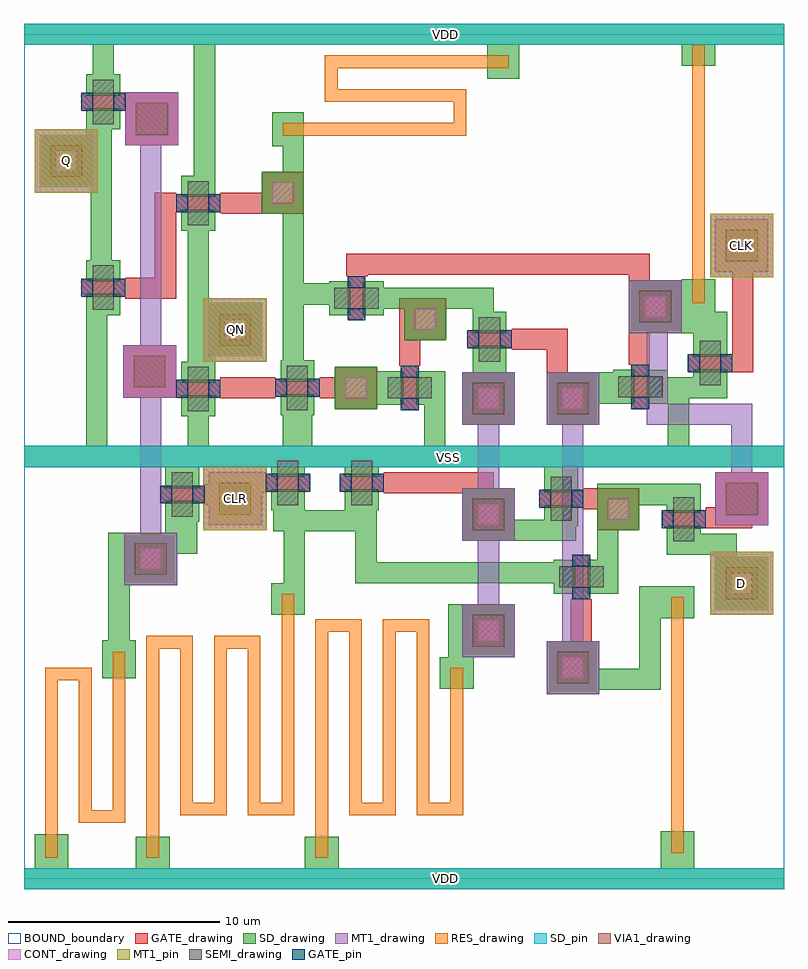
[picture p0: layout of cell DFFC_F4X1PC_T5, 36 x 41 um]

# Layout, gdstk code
from math import pi, radians
import gdstk
lib = gdstk.Library(unit=1e-6, precision=1e-09)
def R(c, l, rs):  # rectangles x0, y0, x1, y1
    for r in rs: c.add(gdstk.rectangle(r[:2], r[2:], *l))
def A(c, l, x, y, w, h, nx, ny, dx, dy):  # array of equal rectangles
    R(c, l, [(x+i*dx, y+j*dy, x+i*dx+w, y+j*dy+h) for i in range(nx) for j in range(ny)])
def P(c, l, *ps):  # polygons
    for p in ps: c.add(gdstk.Polygon(p, *l))
RES_drawing = (1, 0)
SEMI_drawing = (3, 0)
SD_drawing = (10, 0)
SD_pin = (10, 3)
GATE_drawing = (11, 0)
GATE_pin = (11, 3)
MT1_drawing = (20, 0)
MT1_pin = (20, 3)
CONT_drawing = (30, 0)
VIA1_drawing = (41, 0)
BOUND_boundary = (150, 5)

res_cdns_772544865370 = lib.new_cell('res_CDNS_772544865370')
A(res_cdns_772544865370, RES_drawing, -3.5, -4.25, 0.6, 8.5, 5, 1, 1.6, 0)
R(res_cdns_772544865370, RES_drawing, [(2.9,-6.25,3.5,-4.25), (-2.9,-4.25,-1.9,-3.65), (0.3,-4.25,1.3,-3.65), (-1.3,3.65,-0.3,4.25), (1.9,3.65,2.9,4.25), (-3.5,4.25,-2.9,6.25)])
R(res_cdns_772544865370, SD_drawing, [(2.4,-6.75,4,-5.25), (-4,5.25,-2.4,6.75)])

nch_cdns_772544865371 = lib.new_cell('nch_CDNS_772544865371')
R(nch_cdns_772544865371, SEMI_drawing, [(-1.05,-0.5,1.05,0.5)])
R(nch_cdns_772544865371, SD_drawing, [(-1.3,-0.8,-0.3,0.8), (0.3,-0.8,1.3,0.8)])
R(nch_cdns_772544865371, GATE_drawing, [(-0.425,-1.05,0.425,1.05)])
R(nch_cdns_772544865371, GATE_pin, [(-0.425,-1.05,0.425,-0.5), (-0.425,0.5,0.425,1.05)])

res_cdns_772544865372 = lib.new_cell('res_CDNS_772544865372')
A(res_cdns_772544865372, RES_drawing, -1.9, -3.35, 0.6, 6.7, 3, 1, 1.6, 0)
R(res_cdns_772544865372, RES_drawing, [(1.3,-5.35,1.9,-3.35), (-1.3,-3.35,-0.3,-2.75), (0.3,2.75,1.3,3.35), (-1.9,3.35,-1.3,5.35)])
R(res_cdns_772544865372, SD_drawing, [(0.8,-5.85,2.4,-4.35), (-2.4,4.35,-0.8,5.85)])

sd_gate_cdns_77254486537 = lib.new_cell('SD_GATE_CDNS_772544865370')
R(sd_gate_cdns_77254486537, SD_drawing, [(-1.25,-1.25,1.25,1.25)])
R(sd_gate_cdns_77254486537, GATE_drawing, [(-1.25,-1.25,1.25,1.25)])
R(sd_gate_cdns_77254486537, CONT_drawing, [(-0.5,-0.5,0.5,0.5)])

gate_mt1_cdns_7725448653 = lib.new_cell('GATE_MT1_CDNS_772544865371')
R(gate_mt1_cdns_7725448653, GATE_drawing, [(-1.25,-1.25,1.25,1.25)])
R(gate_mt1_cdns_7725448653, MT1_drawing, [(-1.5,-1.5,1.5,1.5)])
R(gate_mt1_cdns_7725448653, VIA1_drawing, [(-0.75,-0.75,0.75,0.75)])

c_gate_mt1_cdns_7725448653 = lib.new_cell('GATE_MT1_CDNS_772544865372')
R(c_gate_mt1_cdns_7725448653, GATE_drawing, [(-1.25,-1.25,1.25,1.25)])
R(c_gate_mt1_cdns_7725448653, MT1_drawing, [(-1.25,-1.25,1.25,1.25)])
R(c_gate_mt1_cdns_7725448653, VIA1_drawing, [(-0.75,-0.75,0.75,0.75)])

c_sd_gate_cdns_77254486537 = lib.new_cell('SD_GATE_CDNS_772544865373')
R(c_sd_gate_cdns_77254486537, SD_drawing, [(-1,-1,1,1)])
R(c_sd_gate_cdns_77254486537, GATE_drawing, [(-1,-1,1,1)])
R(c_sd_gate_cdns_77254486537, CONT_drawing, [(-0.5,-0.5,0.5,0.5)])

dffc_f4x1pc_t5 = lib.new_cell('DFFC_F4X1PC_T5')
A(dffc_f4x1pc_t5, SD_drawing, 0, -0.5, 36, 1, 1, 3, 0, 20)
R(dffc_f4x1pc_t5, SD_drawing, [(0.5,0.5,2.1,2.1), (13.3,0.5,14.9,2), (30.15,0.5,31.75,2.25), (24.75,8.75,27.25,11.25), (19.7,9,21.3,10.5), (3.7,9.5,5.3,11.3), (30.15,12.35,31.75,13.85), (27.15,13.5,28.15,17.3), (6.7,16,8.2,16.9), (23.05,16,26.15,17), (11.8,16.5,13.2,17.45), (27.15,17.7,32.05,18.7), (24.65,18.6,26.25,19.5), (2.95,20.5,3.95,26.7), (7.75,20.5,8.75,21.9), (12.25,20.5,13.65,21.95), (21.25,23.9,22.85,24.35), (31.7,25.725,33.3,25.975), (28.65,25.85,31.15,28.35), (31.15,26.65,32.75,28.4), (8.05,33.3,9.05,39.5), (3.25,38.1,4.25,39.5), (31.15,38.5,32.75,40.1)])
P(dffc_f4x1pc_t5, SD_drawing, [(4.15,35.5),(2.95,35.5),(2.95,35.25),(3.15,35.25),(3.15,29.3),(4.15,29.3)],
  [(9.05,24.75),(8.75,24.75),(8.75,30.7),(7.75,30.7),(7.75,24.5),(9.05,24.5)])
A(dffc_f4x1pc_t5, SD_pin, 0, -0.5, 36, 1, 1, 3, 0, 20)
R(dffc_f4x1pc_t5, GATE_drawing, [(8.55,17.7,8.75,18.7), (11.25,18.25,11.45,19.25)])
P(dffc_f4x1pc_t5, GATE_drawing, [(22.25,19.25),(17.15,19.25),(17.15,18.25),(21.25,18.25),(21.25,17.25),(22.25,17.25)],
  [(4.8,27.475),(7.2,27.475),(7.2,32.5),(6.2,32.5),(6.2,28.475),(4.8,28.475)],
  [(11.8,22.75),(11.8,23.75),(11.9,23.75),(11.9,23.625),(11.95,23.625),(11.95,22.875),(11.9,22.875),(11.9,22.75)],
  [(9.4,22.75),(9.4,23.75),(9.3,23.75),(9.3,23.575),(9.25,23.575),(9.25,22.825),(9.3,22.825),(9.3,22.75)],
  [(26.6,17.5),(26.6,18.5),(26.5,18.5),(26.5,18.375),(26.45,18.375),(26.45,17.625),(26.5,17.625),(26.5,17.5)],
  [(16.275,28.65),(15.275,28.65),(15.275,28.55),(15.375,28.55),(15.375,28.5),(16.125,28.5),(16.125,28.55),(16.275,28.55)],
  [(32.4,16.6),(32.4,17.6),(32.3,17.6),(32.3,17.35),(32.25,17.35),(32.25,16.6)],
  [(18.775,24.4),(17.775,24.4),(17.775,24.3),(17.9,24.3),(17.9,24.25),(18.65,24.25),(18.65,24.3),(18.775,24.3)],
  [(14.1,22.75),(14.1,23.75),(14,23.75),(14,23.625),(13.95,23.625),(13.95,22.875),(14,22.875),(14,22.75)],
  [(25.9,13.15),(26.9,13.15),(26.9,13.25),(26.775,13.25),(26.775,13.3),(26.025,13.3),(26.025,13.25),(25.9,13.25)],
  [(4.9,27.475),(4.9,28.475),(4.8,28.475),(4.8,28.375),(4.75,28.375),(4.75,27.625),(4.8,27.625),(4.8,27.475)],
  [(7.1,23.725),(7.1,22.775),(7.2,22.775),(7.2,22.825),(7.25,22.825),(7.25,23.575),(7.2,23.575),(7.2,23.725)],
  [(4.9,36.275),(4.9,37.25),(4.8,37.25),(4.8,37.175),(4.75,37.175),(4.75,36.425),(4.8,36.425),(4.8,36.275)],
  [(17.15,18.25),(17.15,19.25),(17.05,19.25),(17.05,19.125),(17,19.125),(17,18.375),(17.05,18.375),(17.05,18.25)],
  [(11.35,18.25),(11.35,19.25),(11.45,19.25),(11.45,19.125),(11.5,19.125),(11.5,18.375),(11.45,18.375),(11.45,18.25)],
  [(33.65,24),(33.65,24.975),(33.55,24.975),(33.55,24.8),(33.5,24.8),(33.5,24.075),(33.55,24.075),(33.55,24)],
  [(29.65,24.45),(28.65,24.45),(28.65,24.35),(28.825,24.35),(28.825,24.3),(29.575,24.3),(29.575,24.35),(29.65,24.35)],
  [(7.1,32.5),(7.1,31.525),(7.2,31.525),(7.2,31.625),(7.25,31.625),(7.25,32.375),(7.2,32.375),(7.2,32.5)],
  [(8.65,17.7),(8.65,18.7),(8.55,18.7),(8.55,18.575),(8.5,18.575),(8.5,17.825),(8.55,17.825),(8.55,17.7)],
  [(9.4,32.5),(9.4,31.525),(9.3,31.525),(9.3,31.625),(9.25,31.625),(9.25,32.375),(9.3,32.375),(9.3,32.5)],
  [(23.2,25.05),(23.2,26.05),(23.1,26.05),(23.1,25.925),(23.05,25.925),(23.05,25.175),(23.1,25.175),(23.1,25.05)])
R(dffc_f4x1pc_t5, MT1_drawing, [(32.5,12.5,35.5,15.5), (8.5,16.5,11.5,19.5), (8.5,24.5,11.5,27.5), (32.5,28.5,35.5,31.5), (0.5,32.5,3.5,35.5)])
R(dffc_f4x1pc_t5, MT1_pin, [(32.5,12.5,35.5,15.5), (8.5,16.5,11.5,19.5), (8.5,24.5,11.5,27.5), (32.5,28.5,35.5,31.5), (0.5,32.5,3.5,35.5)])
R(dffc_f4x1pc_t5, BOUND_boundary, [(0,0,36,40)])
dffc_f4x1pc_t5.add(gdstk.FlexPath([(11.5,32),(12.75,32)], 1, ends=(0, 0.5), simple_path=True, layer=10, datatype=0))  # SD_drawing
dffc_f4x1pc_t5.add(gdstk.FlexPath([(29.65,13.85),(29.65,9.45)], 1, ends=(0, 0.5), simple_path=True, layer=10, datatype=0))  # SD_drawing
dffc_f4x1pc_t5.add(gdstk.FlexPath([(27.9,23.3),(26,23.3)], 1.4, ends=(0, 0.7), simple_path=True, layer=10, datatype=0))  # SD_drawing
dffc_f4x1pc_t5.add(gdstk.FlexPath([(26,9.45),(26,10)], 1, ends=(0.5, 0), simple_path=True, layer=10, datatype=0))  # SD_drawing
dffc_f4x1pc_t5.add(gdstk.FlexPath([(12.75,33.5),(12.75,35.2)], 1, ends=(0, 0.5), simple_path=True, layer=10, datatype=0))  # SD_drawing
dffc_f4x1pc_t5.add(gdstk.FlexPath([(33.3,23.25),(31,23.25)], 1, ends=(0, 0.5), simple_path=True, layer=10, datatype=0))  # SD_drawing
dffc_f4x1pc_t5.add(gdstk.FlexPath([(30.8,26.35),(33.3,26.35)], 1, ends="flush", simple_path=True, layer=10, datatype=0))  # SD_drawing
dffc_f4x1pc_t5.add(gdstk.FlexPath([(5.3,10.8),(4.5,10.8)], 1, ends=(0, 0.5), simple_path=True, layer=10, datatype=0))  # SD_drawing
dffc_f4x1pc_t5.add(gdstk.FlexPath([(27.9,23.2),(26,23.2)], 1.4, ends=(0, 0.7), simple_path=True, layer=10, datatype=0))  # SD_drawing
dffc_f4x1pc_t5.add(gdstk.FlexPath([(31,23.75),(31,20.5)], 1, ends="flush", simple_path=True, layer=10, datatype=0))  # SD_drawing
dffc_f4x1pc_t5.add(gdstk.FlexPath([(30.45,15.85),(33.25,15.85)], 1, ends=(0, 0.5), simple_path=True, layer=10, datatype=0))  # SD_drawing
dffc_f4x1pc_t5.add(gdstk.FlexPath([(33.25,15.85),(33.25,13.6)], 1, ends=(0.5, 0), simple_path=True, layer=10, datatype=0))  # SD_drawing
dffc_f4x1pc_t5.add(gdstk.FlexPath([(12.8,16.95),(16.7,16.95)], 1, ends=(0.5, 0), simple_path=True, layer=10, datatype=0))  # SD_drawing
dffc_f4x1pc_t5.add(gdstk.FlexPath([(15.7,23.25),(15.7,23.3)], 1.6, ends=(0.8, 0), simple_path=True, layer=10, datatype=0))  # SD_drawing
dffc_f4x1pc_t5.add(gdstk.FlexPath([(20.6,13),(20.6,10.5)], 1, ends="flush", simple_path=True, layer=10, datatype=0))  # SD_drawing
dffc_f4x1pc_t5.add(gdstk.FlexPath([(12.8,13.5),(13.15,13.5)], 1, ends=(0.5, 0), simple_path=True, layer=10, datatype=0))  # SD_drawing
dffc_f4x1pc_t5.add(gdstk.FlexPath([(16.2,14.5),(25.1,14.5)], 1, ends=(0.5, 0), simple_path=True, layer=10, datatype=0))  # SD_drawing
dffc_f4x1pc_t5.add(gdstk.FlexPath([(12.75,27.7),(12.75,24.55)], 1, ends=(0.5, 0), simple_path=True, layer=10, datatype=0))  # SD_drawing
dffc_f4x1pc_t5.add(gdstk.FlexPath([(12.8,16.95),(12.8,13.5)], 1, ends="extended", simple_path=True, layer=10, datatype=0))  # SD_drawing
dffc_f4x1pc_t5.add(gdstk.FlexPath([(26,23.3),(26,23.5)], 1.4, ends=(0.7, 0.5), simple_path=True, layer=10, datatype=0))  # SD_drawing
dffc_f4x1pc_t5.add(gdstk.FlexPath([(16.975,23.25),(15.7,23.25)], 1.6, ends=(0, 0.8), simple_path=True, layer=10, datatype=0))  # SD_drawing
dffc_f4x1pc_t5.add(gdstk.FlexPath([(16.2,16.95),(16.2,14.5)], 1, ends=(0, 0.5), simple_path=True, layer=10, datatype=0))  # SD_drawing
dffc_f4x1pc_t5.add(gdstk.FlexPath([(12.75,32),(12.75,27.7)], 1, ends="extended", simple_path=True, layer=10, datatype=0))  # SD_drawing
dffc_f4x1pc_t5.add(gdstk.FlexPath([(4.5,15.9),(7.7,15.9)], 1, ends="extended", simple_path=True, layer=10, datatype=0))  # SD_drawing
dffc_f4x1pc_t5.add(gdstk.FlexPath([(7.7,15.9),(7.7,16)], 1, ends=(0.5, 0), simple_path=True, layer=10, datatype=0))  # SD_drawing
dffc_f4x1pc_t5.add(gdstk.FlexPath([(12.75,27.7),(14.45,27.7)], 1, ends=(0.5, 0), simple_path=True, layer=10, datatype=0))  # SD_drawing
dffc_f4x1pc_t5.add(gdstk.FlexPath([(26,23.5),(28.85,23.5)], 1, ends=(0.7, 0), simple_path=True, layer=10, datatype=0))  # SD_drawing
dffc_f4x1pc_t5.add(gdstk.FlexPath([(21.75,26.65),(21.75,27.5),(17.05,27.5)], 1, ends="flush", simple_path=True, layer=10, datatype=0))  # SD_drawing
dffc_f4x1pc_t5.add(gdstk.FlexPath([(4.5,10.8),(4.5,15.9)], 1, ends="extended", simple_path=True, layer=10, datatype=0))  # SD_drawing
dffc_f4x1pc_t5.add(gdstk.FlexPath([(29.65,9.45),(26,9.45)], 1, ends="extended", simple_path=True, layer=10, datatype=0))  # SD_drawing
dffc_f4x1pc_t5.add(gdstk.FlexPath([(19.45,24.05),(19.45,20.5)], 1, ends="flush", simple_path=True, layer=10, datatype=0))  # SD_drawing
dffc_f4x1pc_t5.add(gdstk.FlexPath([(11.8,16.95),(12.8,16.95)], 1, ends=(0, 0.5), simple_path=True, layer=10, datatype=0))  # SD_drawing
dffc_f4x1pc_t5.add(gdstk.FlexPath([(17.3,3.3),(17.3,12)], 0.6, ends="extended", simple_path=True, layer=1, datatype=0))  # RES_drawing
dffc_f4x1pc_t5.add(gdstk.FlexPath([(31.95,38.5),(31.95,27.25)], 0.6, ends=(1, 0), simple_path=True, layer=1, datatype=0))  # RES_drawing
dffc_f4x1pc_t5.add(gdstk.FlexPath([(30.95,12.35),(30.95,1.2)], 0.6, ends=(1, 0), simple_path=True, layer=1, datatype=0))  # RES_drawing
dffc_f4x1pc_t5.add(gdstk.FlexPath([(15.7,3.3),(17.3,3.3)], 0.6, ends="extended", simple_path=True, layer=1, datatype=0))  # RES_drawing
dffc_f4x1pc_t5.add(gdstk.FlexPath([(15.7,12),(15.7,3.3)], 0.6, ends="extended", simple_path=True, layer=1, datatype=0))  # RES_drawing
dffc_f4x1pc_t5.add(gdstk.FlexPath([(14.1,1),(14.1,12)], 0.6, ends=(0, 0.3), simple_path=True, layer=1, datatype=0))  # RES_drawing
dffc_f4x1pc_t5.add(gdstk.FlexPath([(14.1,12),(15.7,12)], 0.6, ends="extended", simple_path=True, layer=1, datatype=0))  # RES_drawing
dffc_f4x1pc_t5.add(gdstk.FlexPath([(18.9,12),(18.9,3.3)], 0.6, ends="extended", simple_path=True, layer=1, datatype=0))  # RES_drawing
dffc_f4x1pc_t5.add(gdstk.FlexPath([(20.5,3.3),(20.5,10)], 0.6, ends=(0.3, 0), simple_path=True, layer=1, datatype=0))  # RES_drawing
dffc_f4x1pc_t5.add(gdstk.FlexPath([(18.9,3.3),(20.5,3.3)], 0.6, ends="extended", simple_path=True, layer=1, datatype=0))  # RES_drawing
dffc_f4x1pc_t5.add(gdstk.FlexPath([(17.3,12),(18.9,12)], 0.6, ends="extended", simple_path=True, layer=1, datatype=0))  # RES_drawing
dffc_f4x1pc_t5.add(gdstk.FlexPath([(1.3,1),(1.3,9.7),(2.9,9.7),(2.9,2.95),(4.5,2.95),(4.5,10.75)], 0.6, ends="flush", simple_path=True, layer=1, datatype=0))  # RES_drawing
dffc_f4x1pc_t5.add(gdstk.FlexPath([(15.6,23.25),(14.1,23.25)], 1, ends="flush", simple_path=True, layer=11, datatype=0))  # GATE_drawing
dffc_f4x1pc_t5.add(gdstk.FlexPath([(18.275,24.4),(18.275,27.5)], 1, ends="flush", simple_path=True, layer=11, datatype=0))  # GATE_drawing
dffc_f4x1pc_t5.add(gdstk.FlexPath([(23.2,25.55),(25.25,25.55)], 1, ends=(0, 0.5), simple_path=True, layer=11, datatype=0))  # GATE_drawing
dffc_f4x1pc_t5.add(gdstk.FlexPath([(25.25,22.35),(26.1,22.35)], 1, ends=(0.5, 0), simple_path=True, layer=11, datatype=0))  # GATE_drawing
dffc_f4x1pc_t5.add(gdstk.FlexPath([(25.25,25.55),(25.25,22.35)], 1, ends="extended", simple_path=True, layer=11, datatype=0))  # GATE_drawing
dffc_f4x1pc_t5.add(gdstk.FlexPath([(15.8,29.1),(29.15,29.1),(29.15,24.45)], 1, ends="flush", simple_path=True, layer=11, datatype=0))  # GATE_drawing
dffc_f4x1pc_t5.add(gdstk.FlexPath([(15.775,29.1),(15.825,29.1)], 1, ends=(0.5, 0), simple_path=True, layer=11, datatype=0))  # GATE_drawing
dffc_f4x1pc_t5.add(gdstk.FlexPath([(32.4,17.1),(34,17.1)], 1, ends=(0, 0.5), simple_path=True, layer=11, datatype=0))  # GATE_drawing
dffc_f4x1pc_t5.add(gdstk.FlexPath([(34,17.1),(34,18)], 1, ends=(0.5, 0), simple_path=True, layer=11, datatype=0))  # GATE_drawing
dffc_f4x1pc_t5.add(gdstk.FlexPath([(9.4,32),(11.75,32)], 1, ends="flush", simple_path=True, layer=11, datatype=0))  # GATE_drawing
dffc_f4x1pc_t5.add(gdstk.FlexPath([(26.4,13.15),(26.4,10.75)], 1, ends=(0, 0.5), simple_path=True, layer=11, datatype=0))  # GATE_drawing
dffc_f4x1pc_t5.add(gdstk.FlexPath([(34.05,24.5),(34.05,30)], 1, ends=(0.5, 0), simple_path=True, layer=11, datatype=0))  # GATE_drawing
dffc_f4x1pc_t5.add(gdstk.FlexPath([(26.6,18),(27.15,18)], 1, ends="flush", simple_path=True, layer=11, datatype=0))  # GATE_drawing
dffc_f4x1pc_t5.add(gdstk.FlexPath([(9.4,23.25),(11.8,23.25)], 1, ends="flush", simple_path=True, layer=11, datatype=0))  # GATE_drawing
dffc_f4x1pc_t5.add(gdstk.FlexPath([(15.775,28.575),(15.775,29.1)], 1, ends=(0, 0.5), simple_path=True, layer=11, datatype=0))  # GATE_drawing
dffc_f4x1pc_t5.add(gdstk.FlexPath([(34,22),(34,17.75)], 1, ends=(0.5, 0), simple_path=True, layer=20, datatype=0))  # MT1_drawing
dffc_f4x1pc_t5.add(gdstk.FlexPath([(26,23.15),(26,9.9)], 1, ends="flush", simple_path=True, layer=20, datatype=0))  # MT1_drawing
dffc_f4x1pc_t5.add(gdstk.FlexPath([(22,11.75),(22,11)], 1, ends="flush", simple_path=True, layer=20, datatype=0))  # MT1_drawing
dffc_f4x1pc_t5.add(gdstk.FlexPath([(22,17.25),(22,11.75)], 1, ends="flush", simple_path=True, layer=20, datatype=0))  # MT1_drawing
dffc_f4x1pc_t5.add(gdstk.FlexPath([(22,22.75),(22,17.25)], 1, ends="flush", simple_path=True, layer=20, datatype=0))  # MT1_drawing
dffc_f4x1pc_t5.add(gdstk.FlexPath([(6,36),(6,15.15)], 1, ends="flush", simple_path=True, layer=20, datatype=0))  # MT1_drawing
dffc_f4x1pc_t5.add(gdstk.FlexPath([(30,22),(34,22)], 1, ends="extended", simple_path=True, layer=20, datatype=0))  # MT1_drawing
dffc_f4x1pc_t5.add(gdstk.FlexPath([(29.85,27.05),(30,27.05)], 1, ends=(0, 0.5), simple_path=True, layer=20, datatype=0))  # MT1_drawing
dffc_f4x1pc_t5.add(gdstk.FlexPath([(30,27.05),(30,22)], 1, ends="extended", simple_path=True, layer=20, datatype=0))  # MT1_drawing
dffc_f4x1pc_t5.add(gdstk.Reference(res_cdns_772544865370, (9.3,7.25), x_reflection=True))
dffc_f4x1pc_t5.add(gdstk.Reference(nch_cdns_772544865371, (12.95,23.25), rotation=pi/2))
dffc_f4x1pc_t5.add(gdstk.Reference(nch_cdns_772544865371, (26.4,14.3), rotation=pi))
dffc_f4x1pc_t5.add(gdstk.Reference(nch_cdns_772544865371, (29.2,23.3), rotation=pi))
dffc_f4x1pc_t5.add(gdstk.Reference(nch_cdns_772544865371, (32.5,24.425), rotation=pi/2))
dffc_f4x1pc_t5.add(gdstk.Reference(nch_cdns_772544865371, (3.75,28), rotation=pi/2))
dffc_f4x1pc_t5.add(gdstk.Reference(nch_cdns_772544865371, (25.45,18), rotation=3*pi/2))
dffc_f4x1pc_t5.add(gdstk.Reference(nch_cdns_772544865371, (16,18.75), rotation=3*pi/2))
dffc_f4x1pc_t5.add(gdstk.Reference(nch_cdns_772544865371, (8.25,32), rotation=pi/2))
dffc_f4x1pc_t5.add(gdstk.Reference(nch_cdns_772544865371, (7.5,18.2), rotation=3*pi/2))
dffc_f4x1pc_t5.add(gdstk.Reference(nch_cdns_772544865371, (3.75,36.8), rotation=pi/2))
dffc_f4x1pc_t5.add(gdstk.Reference(nch_cdns_772544865371, (31.25,17.025), rotation=pi/2))
dffc_f4x1pc_t5.add(gdstk.Reference(nch_cdns_772544865371, (12.5,18.75), rotation=3*pi/2, x_reflection=True))
dffc_f4x1pc_t5.add(gdstk.Reference(nch_cdns_772544865371, (22.05,25.55), rotation=3*pi/2, x_reflection=True))
dffc_f4x1pc_t5.add(gdstk.Reference(nch_cdns_772544865371, (8.25,23.2), rotation=pi/2))
dffc_f4x1pc_t5.add(gdstk.Reference(nch_cdns_772544865371, (15.75,27.5)))
dffc_f4x1pc_t5.add(gdstk.Reference(nch_cdns_772544865371, (18.275,23.25), rotation=pi))
dffc_f4x1pc_t5.add(gdstk.Reference(res_cdns_772544865372, (17.6,37.1), rotation=pi/2))
dffc_f4x1pc_t5.add(gdstk.Reference(sd_gate_cdns_77254486537, (26,22.75)))
dffc_f4x1pc_t5.add(gdstk.Reference(sd_gate_cdns_77254486537, (22,22.75)))
dffc_f4x1pc_t5.add(gdstk.Reference(sd_gate_cdns_77254486537, (2,34)))
dffc_f4x1pc_t5.add(gdstk.Reference(sd_gate_cdns_77254486537, (10,26)))
dffc_f4x1pc_t5.add(gdstk.Reference(sd_gate_cdns_77254486537, (22,11.75)))
dffc_f4x1pc_t5.add(gdstk.Reference(sd_gate_cdns_77254486537, (22,17.25)))
dffc_f4x1pc_t5.add(gdstk.Reference(sd_gate_cdns_77254486537, (6,15.15)))
dffc_f4x1pc_t5.add(gdstk.Reference(sd_gate_cdns_77254486537, (26,22.75)))
dffc_f4x1pc_t5.add(gdstk.Reference(sd_gate_cdns_77254486537, (22,22.75)))
dffc_f4x1pc_t5.add(gdstk.Reference(sd_gate_cdns_77254486537, (22,11.75)))
dffc_f4x1pc_t5.add(gdstk.Reference(sd_gate_cdns_77254486537, (22,17.25)))
dffc_f4x1pc_t5.add(gdstk.Reference(sd_gate_cdns_77254486537, (6,15.15)))
dffc_f4x1pc_t5.add(gdstk.Reference(sd_gate_cdns_77254486537, (26,22.75)))
dffc_f4x1pc_t5.add(gdstk.Reference(sd_gate_cdns_77254486537, (22,22.75)))
dffc_f4x1pc_t5.add(gdstk.Reference(sd_gate_cdns_77254486537, (22,11.75)))
dffc_f4x1pc_t5.add(gdstk.Reference(sd_gate_cdns_77254486537, (22,17.25)))
dffc_f4x1pc_t5.add(gdstk.Reference(sd_gate_cdns_77254486537, (6,15.15)))
dffc_f4x1pc_t5.add(gdstk.Reference(sd_gate_cdns_77254486537, (26,22.75)))
dffc_f4x1pc_t5.add(gdstk.Reference(sd_gate_cdns_77254486537, (22,22.75)))
dffc_f4x1pc_t5.add(gdstk.Reference(sd_gate_cdns_77254486537, (22,11.75)))
dffc_f4x1pc_t5.add(gdstk.Reference(sd_gate_cdns_77254486537, (22,17.25)))
dffc_f4x1pc_t5.add(gdstk.Reference(sd_gate_cdns_77254486537, (6,15.15)))
dffc_f4x1pc_t5.add(gdstk.Reference(sd_gate_cdns_77254486537, (22,22.75)))
dffc_f4x1pc_t5.add(gdstk.Reference(sd_gate_cdns_77254486537, (22,11.75)))
dffc_f4x1pc_t5.add(gdstk.Reference(sd_gate_cdns_77254486537, (34,14)))
dffc_f4x1pc_t5.add(gdstk.Reference(sd_gate_cdns_77254486537, (26,22.75)))
dffc_f4x1pc_t5.add(gdstk.Reference(sd_gate_cdns_77254486537, (22,17.25)))
dffc_f4x1pc_t5.add(gdstk.Reference(sd_gate_cdns_77254486537, (6,15.15)))
dffc_f4x1pc_t5.add(gdstk.Reference(gate_mt1_cdns_7725448653, (2,34)))
dffc_f4x1pc_t5.add(gdstk.Reference(gate_mt1_cdns_7725448653, (10,26)))
dffc_f4x1pc_t5.add(gdstk.Reference(gate_mt1_cdns_7725448653, (10,18)))
dffc_f4x1pc_t5.add(gdstk.Reference(gate_mt1_cdns_7725448653, (34,30)))
dffc_f4x1pc_t5.add(gdstk.Reference(gate_mt1_cdns_7725448653, (34,14)))
dffc_f4x1pc_t5.add(gdstk.Reference(c_gate_mt1_cdns_7725448653, (26,22.75)))
dffc_f4x1pc_t5.add(gdstk.Reference(c_gate_mt1_cdns_7725448653, (22,22.75)))
dffc_f4x1pc_t5.add(gdstk.Reference(c_gate_mt1_cdns_7725448653, (6.05,36)))
dffc_f4x1pc_t5.add(gdstk.Reference(c_gate_mt1_cdns_7725448653, (5.95,24.025)))
dffc_f4x1pc_t5.add(gdstk.Reference(c_gate_mt1_cdns_7725448653, (34,18)))
dffc_f4x1pc_t5.add(gdstk.Reference(c_gate_mt1_cdns_7725448653, (22,11.75)))
dffc_f4x1pc_t5.add(gdstk.Reference(c_gate_mt1_cdns_7725448653, (22,17.25)))
dffc_f4x1pc_t5.add(gdstk.Reference(c_gate_mt1_cdns_7725448653, (6,15.15)))
dffc_f4x1pc_t5.add(gdstk.Reference(c_gate_mt1_cdns_7725448653, (26,10)))
dffc_f4x1pc_t5.add(gdstk.Reference(c_gate_mt1_cdns_7725448653, (34,18)))
dffc_f4x1pc_t5.add(gdstk.Reference(c_gate_mt1_cdns_7725448653, (6.05,36)))
dffc_f4x1pc_t5.add(gdstk.Reference(c_gate_mt1_cdns_7725448653, (5.95,24.025)))
dffc_f4x1pc_t5.add(gdstk.Reference(c_gate_mt1_cdns_7725448653, (26,22.75)))
dffc_f4x1pc_t5.add(gdstk.Reference(c_gate_mt1_cdns_7725448653, (22,22.75)))
dffc_f4x1pc_t5.add(gdstk.Reference(c_gate_mt1_cdns_7725448653, (22,11.75)))
dffc_f4x1pc_t5.add(gdstk.Reference(c_gate_mt1_cdns_7725448653, (22,17.25)))
dffc_f4x1pc_t5.add(gdstk.Reference(c_gate_mt1_cdns_7725448653, (6,15.15)))
dffc_f4x1pc_t5.add(gdstk.Reference(c_gate_mt1_cdns_7725448653, (34,18)))
dffc_f4x1pc_t5.add(gdstk.Reference(c_gate_mt1_cdns_7725448653, (6.05,36)))
dffc_f4x1pc_t5.add(gdstk.Reference(c_gate_mt1_cdns_7725448653, (5.95,24.025)))
dffc_f4x1pc_t5.add(gdstk.Reference(c_gate_mt1_cdns_7725448653, (26,22.75)))
dffc_f4x1pc_t5.add(gdstk.Reference(c_gate_mt1_cdns_7725448653, (22,22.75)))
dffc_f4x1pc_t5.add(gdstk.Reference(c_gate_mt1_cdns_7725448653, (22,11.75)))
dffc_f4x1pc_t5.add(gdstk.Reference(c_gate_mt1_cdns_7725448653, (22,17.25)))
dffc_f4x1pc_t5.add(gdstk.Reference(c_gate_mt1_cdns_7725448653, (6,15.15)))
dffc_f4x1pc_t5.add(gdstk.Reference(c_gate_mt1_cdns_7725448653, (34,18)))
dffc_f4x1pc_t5.add(gdstk.Reference(c_gate_mt1_cdns_7725448653, (6.05,36)))
dffc_f4x1pc_t5.add(gdstk.Reference(c_gate_mt1_cdns_7725448653, (5.95,24.025)))
dffc_f4x1pc_t5.add(gdstk.Reference(c_gate_mt1_cdns_7725448653, (29.9,27.1)))
dffc_f4x1pc_t5.add(gdstk.Reference(c_gate_mt1_cdns_7725448653, (26,22.75)))
dffc_f4x1pc_t5.add(gdstk.Reference(c_gate_mt1_cdns_7725448653, (22,22.75)))
dffc_f4x1pc_t5.add(gdstk.Reference(c_gate_mt1_cdns_7725448653, (22,11.75)))
dffc_f4x1pc_t5.add(gdstk.Reference(c_gate_mt1_cdns_7725448653, (22,17.25)))
dffc_f4x1pc_t5.add(gdstk.Reference(c_gate_mt1_cdns_7725448653, (6,15.15)))
dffc_f4x1pc_t5.add(gdstk.Reference(c_gate_mt1_cdns_7725448653, (6,15.15)))
dffc_f4x1pc_t5.add(gdstk.Reference(c_gate_mt1_cdns_7725448653, (5.95,24.025)))
dffc_f4x1pc_t5.add(gdstk.Reference(c_gate_mt1_cdns_7725448653, (6.05,36)))
dffc_f4x1pc_t5.add(gdstk.Reference(c_gate_mt1_cdns_7725448653, (34,18)))
dffc_f4x1pc_t5.add(gdstk.Reference(c_gate_mt1_cdns_7725448653, (22,11.75)))
dffc_f4x1pc_t5.add(gdstk.Reference(c_gate_mt1_cdns_7725448653, (26,22.75)))
dffc_f4x1pc_t5.add(gdstk.Reference(c_gate_mt1_cdns_7725448653, (22,17.25)))
dffc_f4x1pc_t5.add(gdstk.Reference(c_gate_mt1_cdns_7725448653, (22,22.75)))
dffc_f4x1pc_t5.add(gdstk.Reference(c_sd_gate_cdns_77254486537, (19,26.5)))
dffc_f4x1pc_t5.add(gdstk.Reference(c_sd_gate_cdns_77254486537, (15.725,23.25)))
dffc_f4x1pc_t5.add(gdstk.Reference(c_sd_gate_cdns_77254486537, (12.25,32.5)))
dffc_f4x1pc_t5.add(gdstk.Reference(c_sd_gate_cdns_77254486537, (28.15,17.5)))
dffc_f4x1pc_t5.add(gdstk.Reference(c_sd_gate_cdns_77254486537, (28.15,17.5)))
dffc_f4x1pc_t5.add(gdstk.Reference(c_sd_gate_cdns_77254486537, (19,26.5)))
dffc_f4x1pc_t5.add(gdstk.Reference(c_sd_gate_cdns_77254486537, (15.725,23.25)))
dffc_f4x1pc_t5.add(gdstk.Reference(c_sd_gate_cdns_77254486537, (12.25,32.5)))
dffc_f4x1pc_t5.add(gdstk.Reference(c_sd_gate_cdns_77254486537, (29.9,27.1)))
dffc_f4x1pc_t5.add(gdstk.Reference(c_sd_gate_cdns_77254486537, (26,10)))
dffc_f4x1pc_t5.add(gdstk.Reference(c_sd_gate_cdns_77254486537, (28.15,17.5)))
dffc_f4x1pc_t5.add(gdstk.Reference(c_sd_gate_cdns_77254486537, (19,26.5)))
dffc_f4x1pc_t5.add(gdstk.Reference(c_sd_gate_cdns_77254486537, (15.725,23.25)))
dffc_f4x1pc_t5.add(gdstk.Reference(c_sd_gate_cdns_77254486537, (12.25,32.5)))
dffc_f4x1pc_t5.add(gdstk.Reference(c_sd_gate_cdns_77254486537, (28.15,17.5)))
dffc_f4x1pc_t5.add(gdstk.Reference(c_sd_gate_cdns_77254486537, (19,26.5)))
dffc_f4x1pc_t5.add(gdstk.Reference(c_sd_gate_cdns_77254486537, (15.725,23.25)))
dffc_f4x1pc_t5.add(gdstk.Reference(c_sd_gate_cdns_77254486537, (12.25,32.5)))
dffc_f4x1pc_t5.add(gdstk.Reference(c_sd_gate_cdns_77254486537, (12.25,32.5)))
dffc_f4x1pc_t5.add(gdstk.Reference(c_sd_gate_cdns_77254486537, (19,26.5)))
dffc_f4x1pc_t5.add(gdstk.Reference(c_sd_gate_cdns_77254486537, (15.725,23.25)))
dffc_f4x1pc_t5.add(gdstk.Reference(c_sd_gate_cdns_77254486537, (28.15,17.5)))
dffc_f4x1pc_t5.add(gdstk.Label('VDD', (19.95,0), layer=10, texttype=3))
dffc_f4x1pc_t5.add(gdstk.Label('VSS', (20.1,19.95), layer=10, texttype=3))
dffc_f4x1pc_t5.add(gdstk.Label('VDD', (19.95,40), layer=10, texttype=3))
dffc_f4x1pc_t5.add(gdstk.Label('QN', (10,26), layer=20, texttype=3))
dffc_f4x1pc_t5.add(gdstk.Label('Q', (2,34), layer=20, texttype=3))
dffc_f4x1pc_t5.add(gdstk.Label('D', (34,14), layer=20, texttype=3))
dffc_f4x1pc_t5.add(gdstk.Label('CLR', (10,18), layer=20, texttype=3))
dffc_f4x1pc_t5.add(gdstk.Label('CLK', (34,30), layer=20, texttype=3))

lib.write_gds('DFFC_F4X1PC_T5.gds')
